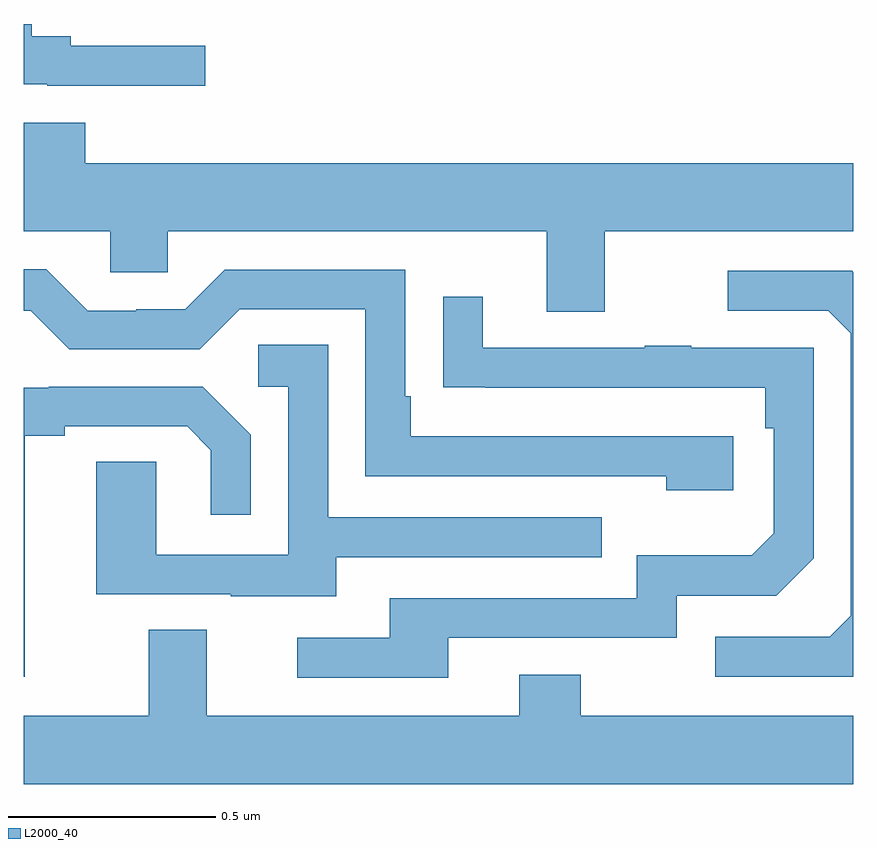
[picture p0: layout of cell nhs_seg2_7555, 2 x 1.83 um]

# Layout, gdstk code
import gdstk
lib = gdstk.Library(unit=1e-6, precision=1e-09)
def P(c, l, *ps):  # polygons
    for p in ps: c.add(gdstk.Polygon(p, *l))
L2000_40 = (2000, 40)

nhs_seg2_7555 = lib.new_cell('nhs_seg2_7555')
P(nhs_seg2_7555, L2000_40, [(205.438,650.748),(205.114,650.748),(205.114,650.771),(205.019,650.771),(205.019,650.8),(205,650.8),(205,650.655),(205.057,650.655),(205.057,650.651),(205.438,650.651)],
  [(206.401,650.3),(207,650.3),(207,650.464),(205.148,650.464),(205.148,650.562),(205,650.562),(205,650.3),(205.209,650.3),(205.209,650.202),(205.347,650.202),(205.347,650.3),(206.261,650.3),(206.261,650.106),(206.401,650.106)],
  [(206.71,649.806),(205.933,649.806),(205.933,649.903),(205.92,649.903),(205.92,650.208),(205.485,650.208),(205.389,650.112),(205.271,650.112),(205.271,650.109),(205.155,650.109),(205.055,650.209),(205,650.209),(205,650.109),(205.017,650.109),(205.11,650.016),(205.425,650.016),(205.521,650.112),(205.824,650.112),(205.824,649.71),(206.549,649.71),(206.549,649.676),(206.71,649.676)],
  [(207,650.202),(206.997,650.205),(206.697,650.205),(206.697,650.109),(206.94,650.109),(206.994,650.055),(206.994,649.374),(206.943,649.323),(206.667,649.323),(206.667,649.227),(207,649.227)],
  [(206.023,649.32),(206.574,649.32),(206.574,649.422),(206.814,649.422),(206.904,649.512),(206.904,650.019),(206.609,650.019),(206.609,650.024),(206.497,650.024),(206.497,650.019),(206.107,650.019),(206.107,650.143),(206.011,650.143),(206.011,649.924),(206.113,649.924),(206.113,649.923),(206.788,649.923),(206.788,649.826),(206.808,649.826),(206.808,649.572),(206.755,649.519),(206.478,649.519),(206.478,649.416),(205.883,649.416),(205.883,649.32),(205.659,649.32),(205.659,649.224),(206.023,649.224)],
  [(205.753,649.515),(206.393,649.515),(206.393,649.611),(205.734,649.611),(205.734,650.027),(205.566,650.027),(205.566,649.926),(205.638,649.926),(205.638,649.521),(205.32,649.521),(205.32,649.745),(205.175,649.745),(205.175,649.425),(205.499,649.425),(205.499,649.421),(205.753,649.421)],
  [(205.003,649.808),(205.099,649.808),(205.099,649.83),(205.394,649.83),(205.451,649.773),(205.451,649.617),(205.548,649.617),(205.548,649.81),(205.432,649.926),(205.06,649.926),(205.06,649.923),(205,649.923),(205,649.227),(205.003,649.227)],
  [(207,649.132),(206.343,649.132),(206.343,649.231),(206.195,649.231),(206.195,649.132),(205.441,649.132),(205.441,649.34),(205.301,649.34),(205.301,649.132),(205,649.132),(205,648.968),(207,648.968)])

lib.write_gds('nhs_seg2_7555.gds')
